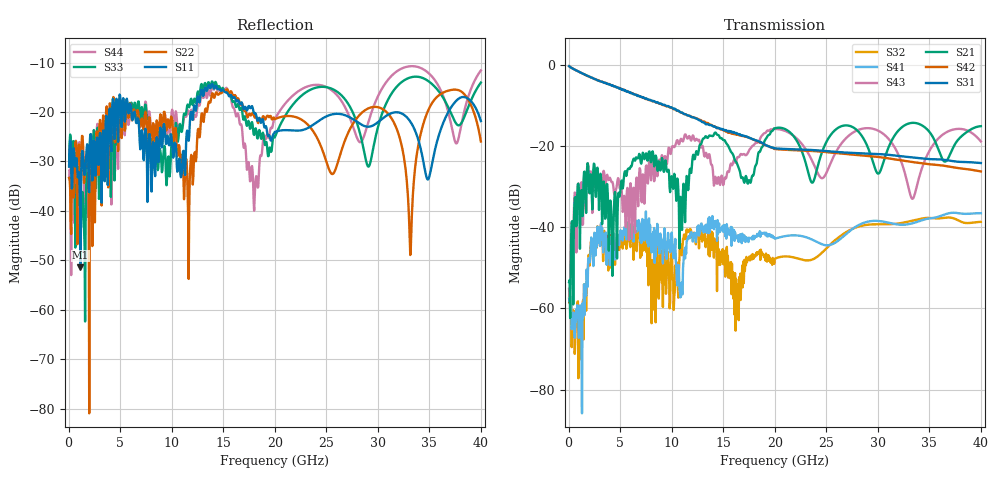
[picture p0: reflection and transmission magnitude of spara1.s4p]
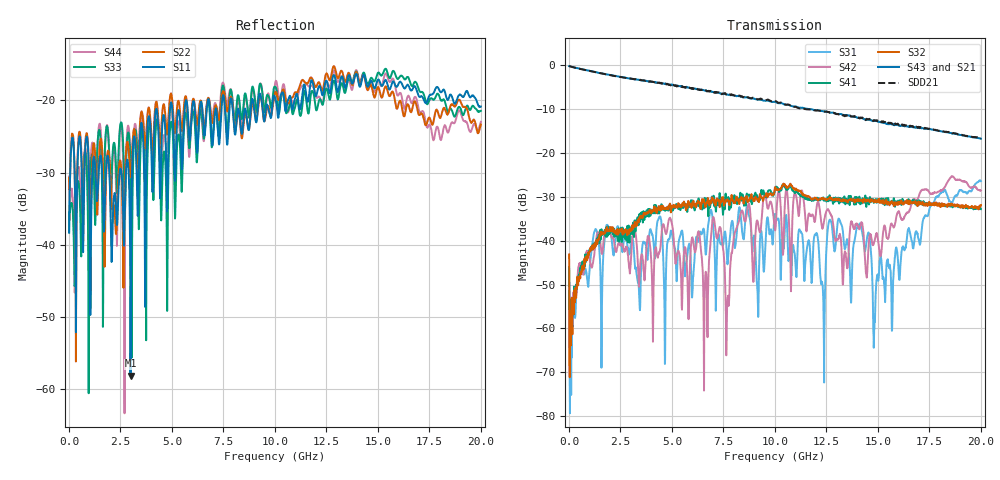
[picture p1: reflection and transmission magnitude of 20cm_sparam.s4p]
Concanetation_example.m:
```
clear
%% add path to SYZconversions and data
addpath('XXXwhere your files for tsnimporti\impulse_response_oct2012\impulse_response_oct2012');
addpath('XXX\SYZ_conversions\SYZ_conversions');
s4ppath = 'XXX your data path\Qlogic_Cetus_wrk\data';
%% get data from s4p files
SNP_ADSname = 'spara1.s4p';
SNP_ADSfile= fullfile(s4ppath, SNP_ADSname);

SNP1_s4pname = 'm_qlogic_baker_e049_fc_tx0_shrt.s4p';
SNP1_s4pfile = fullfile(s4ppath, SNP1_s4pname);

SNP2_s4pname = '20cm_sparam.s4p';
SNP2_s4pfile = fullfile(s4ppath, SNP2_s4pname);

SNP3_s4pname = 'm_qlogic_baker_e049_fc_rx0_shrt.s4p';
SNP3_s4pfile = fullfile(s4ppath, SNP3_s4pname);

SNP_ADS = tsnpimporti(SNP_ADSfile);
SNP1_s4pstruct = tsnpimporti(SNP1_s4pfile);
SNP2_s4pstruct = tsnpimporti(SNP2_s4pfile);
SNP3_s4pstruct = tsnpimporti(SNP3_s4pfile);
%input pindex1 pindex2 pindex 3
%need to be chosen accorinding the pin index of the networks
pindex1 = [1 2;3 4];
pindex2 = [1 2;3 4];
pindex3 = [1 2;3 4];

fq = SNP2_s4pstruct.freqlist;

%% Using concatenate function
[SNPO_conca,pindex,fq,err,errmsg] = concatenate(SNP1_s4pstruct,SNP2_s4pstruct,pindex1,pindex2,fq);
[SNPO_conca,pindex,fq,err,errmsg] = concatenate(SNPO_conca,SNP3_s4pstruct,pindex,pindex3,fq);

%% extracting data from SONPO_conca.struct for plotting purpose
for i=1:4
        for k=1:2000
            x(i,k) = SNPO_conca.data(1,i,k);
        end
        for k = 1:400
            ADS(i,k) = SNP_ADS.data(1,i,k);
        end
end
for i=1:4
        for k=1:2000
            x(i+4,k) = SNPO_conca.data(2,i,k);
        end
        for k = 1:400
            ADS(i+4,k) = SNP_ADS.data(2,i,k);
        end
end
for i=1:4
        for k=1:2000
            x(i+8,k) = SNPO_conca.data(3,i,k);
        end
        for k = 1:400
            ADS(i+8,k) = SNP_ADS.data(3,i,k);
        end
end
for i=1:4
        for k=1:2000
            x(i+12,k) = SNPO_conca.data(4,i,k);
        end
        for k = 1:400
            ADS(i+12,k) = SNP_ADS.data(4,i,k);
        end
end

%% Insertion loss(IL), Return loss(RL), Near-end crosstalk(NEXT), Far-end Crosstalk(FEXT)
%Matlab data
IL = x([3 8],:);
RL = x([1 6 11 16],:);
NEXT = x([2 12],:);
FEXT = x([4 7],:);

%ADS data
ILa = ADS([3 8],:);
RLa = ADS([1 6 11 16],:);
NEXTa = ADS([2 12],:);
FEXTa = ADS([4 7],:);

%% Matlab
figure
subplot(3,1,1)
plot(fq,real(IL))
title('Insertion Loss')
xlabel('freq')
ylabel('Real')

subplot(3,1,2)
plot(fq,20*log(IL))

xlabel('freq')
ylabel('Magnitude')

subplot(3,1,3)
plot(fq,angle(IL))

xlabel('freq')
ylabel('Phase')

figure
subplot(3,1,1)
plot(fq,real(RL))
title('Return Loss')
xlabel('freq')
ylabel('Real')

subplot(3,1,2)
plot(fq,20*log(RL))

xlabel('freq')
ylabel('Magnitude')

subplot(3,1,3)
plot(fq,angle(RL))

xlabel('freq')
ylabel('Phase')

figure
subplot(3,1,1)
plot(fq,real(NEXT))
title('Near-End Crosstalk')
xlabel('freq')
ylabel('Real')

subplot(3,1,2)
plot(fq,20*log(NEXT))
xlabel('freq')
ylabel('Magnitude')

subplot(3,1,3)
plot(fq,angle(NEXT))
xlabel('freq')
ylabel('Phase')

figure
subplot(3,1,1)
plot(fq,real(FEXT))
title('Far-End Crosstalk')
xlabel('freq')
ylabel('Real')

subplot(3,1,2)
plot(fq,20*log(FEXT))
xlabel('freq')
ylabel('Magnitude')

subplot(3,1,3)
plot(fq,angle(FEXT))
xlabel('freq')
ylabel('Phase')



%% ADS
fqa = SNP_ADS.freqlist(1:400);
figure
subplot(3,1,1)
plot(fqa,real(ILa))
title('ADS Insertion Loss')
xlabel('freq')
ylabel('Real')

subplot(3,1,2)
plot(fqa,20*log(ILa))

xlabel('freq')
ylabel('Magnitude')

subplot(3,1,3)
plot(fqa,angle(ILa))

xlabel('freq')
ylabel('Phase')

figure
subplot(3,1,1)
plot(fqa,real(RLa))
title('ADS Return Loss')
xlabel('freq')
ylabel('Real')

subplot(3,1,2)
plot(fqa,20*log(RLa))

xlabel('freq')
ylabel('Magnitude')

subplot(3,1,3)
plot(fqa,angle(RLa))

xlabel('freq')
ylabel('Phase')

figure
subplot(3,1,1)
plot(fqa,real(NEXTa))
title('ADS Near-End Crosstalk')
xlabel('freq')
ylabel('Real')

subplot(3,1,2)
plot(fqa,20*log(NEXTa))
xlabel('freq')
ylabel('Magnitude')

subplot(3,1,3)
plot(fqa,angle(NEXTa))
xlabel('freq')
ylabel('Phase')

figure
subplot(3,1,1)
plot(fqa,real(FEXTa))
title('ADS Far-End Crosstalk')
axis([0 2*10^10 -0.05 0.05])
xlabel('freq')
ylabel('Real')

subplot(3,1,2)
plot(fqa,20*log(FEXTa))
xlabel('freq')
ylabel('Magnitude')

subplot(3,1,3)
plot(fqa,angle(FEXTa))
xlabel('freq')
ylabel('Phase')
```
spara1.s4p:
! Created Fri Jan 30 21:06:49 2015
# hz S ma R 50
! 4 Port Network Data from SP1.SP block
! freq  magS11  angS11  magS12  angS12  magS13  angS13  magS14  angS14
!  magS21  angS21  magS22  angS22  magS23  angS23  magS24  angS24
!  magS31  angS31  magS32  angS32  magS33  angS33  magS34  angS34
!  magS41  angS41  magS42  angS42  magS43  angS43  magS44  angS44
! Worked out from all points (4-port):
!   800 points, 50 MHz to 40 GHz, reference 50 ohm
!   strongest paths, dB at 50 MHz, 10.05 GHz, 20.05 GHz, 30.05 GHz, 40 GHz:
!     S31: -0.3, -10.5, -20.6, -21.9, -24.2
!     S42: -0.3, -10.6, -20.7, -22.7, -26.2
!     S21: -53.5, -27.8, -15.6, -26.8, -15.1
!     S43: -55.2, -20.1, -15.8, -16.2, -18.8
!     S41: -55.2, -42.9, -42.8, -38.4, -36.5
!     S32: -57.6, -48.6, -47.7, -39.3, -38.7
!   lowest |S11| = -51.4 dB at 1.15 GHz (marker M1), VSWR 1.01, Z = 50.3 - j0.0904 ohm
!   |S11| at or under -10 dB: start of sweep to end of sweep
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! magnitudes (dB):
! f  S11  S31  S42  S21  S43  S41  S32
! 50 MHz  -31.1  -0.3  -0.3  -53.5  -55.2  -55.2  -57.6
! 1.15 GHz  -51.4  -1.8  -1.8  -34.7  -32.1  -64.7  -70.6
! 40 GHz  -21.8  -24.2  -26.2  -15.1  -18.8  -36.5  -38.7
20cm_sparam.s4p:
! S11 = SDD11
! S12 = SDD12
! S13 = SDC11
! S14 = SDC12
! S21 = SDD21
! S22 = SDD22
! S23 = SDC21
! S24 = SDC22
! S31 = SCD11
! S32 = SCD12
! S33 = SCC11
! S34 = SCC12
! S41 = SCD21
! S42 = SCD22
! S43 = SCC21
! S44 = SCC22
! FILE: L:\Projects\Eval Projects\Cetus A1\Receiver\LSI Compliance Channels\20 cm\20cm sparam.s4p
!$DUT_CFG_DESC: Default 4 Port Configuration
!$NUMBER_PORTS: 4
!$DIFF_PORT_MAP: 1|2P|2|2P|0|UC|0|UC|
!$PORT_MAP: 1|1|<<<<<<|2|2|>>>>>>|3|3|<<<<<<|4|4|>>>>>>|
# MHz S MA R 50.00
! FREQ  S11  S12  S13  S14
!  S21  S22  S23  S24
!  S31  S32  S33  S34
!  S41  S42  S43  S44
!  MAG  ANGLE  MAG  ANGLE  MAG  ANGLE  MAG  ANGLE
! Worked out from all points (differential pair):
!   2000 points, 10 MHz to 20 GHz, reference 50 ohm
!   strongest paths, dB at 10 MHz, 5.01 GHz, 10.01 GHz, 15.01 GHz, 20 GHz:
!     S43: -0.2, -4.5, -8.3, -12.8, -16.7
!     S21: -0.2, -4.6, -8.3, -12.7, -16.8
!     S32: -43.1, -32.4, -27.8, -31.0, -31.8
!     S41: -46.0, -32.7, -28.2, -30.9, -32.8
!     S42: -52.7, -36.4, -37.7, -39.9, -28.6
!     S31: -51.6, -38.4, -33.9, -48.9, -26.4
!   taken as a pair (ports 3,1 in; 4,2 out), SDD21 dB: -0.2, -4.6, -8.1, -12.7, -16.6
!   lowest |S11| = -58.1 dB at 2.99 GHz (marker M1), VSWR 1.00, Z = 50 + j0.123 ohm
!   |S11| at or under -10 dB: start of sweep to end of sweep
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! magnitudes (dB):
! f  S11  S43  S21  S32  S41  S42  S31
! 10 MHz  -38.3  -0.2  -0.2  -43.1  -46.0  -52.7  -51.6
! 2.99 GHz  -58.1  -3.0  -3.0  -37.5  -38.1  -46.1  -41.4
! 20 GHz  -20.8  -16.7  -16.8  -31.8  -32.8  -28.6  -26.4
